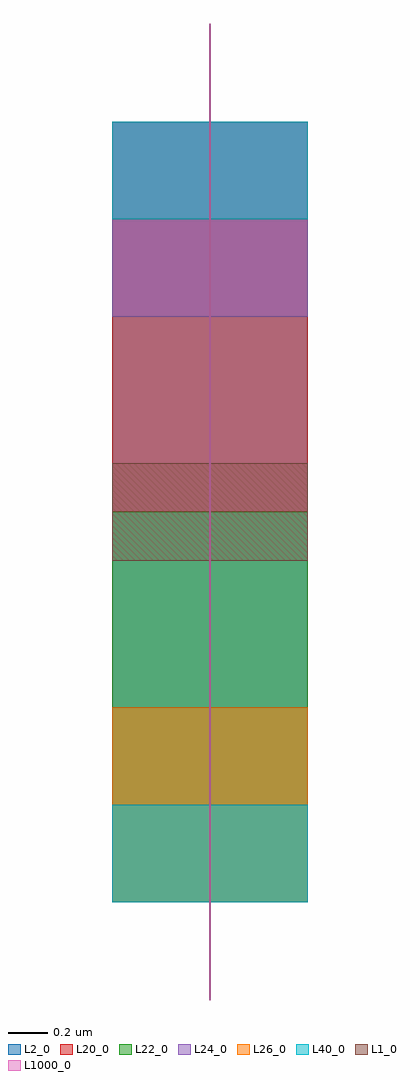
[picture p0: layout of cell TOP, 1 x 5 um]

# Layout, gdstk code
import gdstk
lib = gdstk.Library(unit=1e-6, precision=1e-09)
def R(c, l, rs):  # rectangles x0, y0, x1, y1
    for r in rs: c.add(gdstk.rectangle(r[:2], r[2:], *l))
L1_0 = (1, 0)
L2_0 = (2, 0)
L20_0 = (20, 0)
L22_0 = (22, 0)
L24_0 = (24, 0)
L26_0 = (26, 0)
L40_0 = (40, 0)
L1000_0 = (1000, 0)

top = lib.new_cell('TOP')
R(top, L1_0, [(-0.5,-0.25,0.5,0.25)])
R(top, L2_0, [(-0.5,-2,0.5,2)])
R(top, L20_0, [(-0.5,0,0.5,2)])
R(top, L22_0, [(-0.5,-2,0.5,0)])
R(top, L24_0, [(-0.5,1,0.5,2)])
R(top, L26_0, [(-0.5,-2,0.5,-1)])
R(top, L40_0, [(-0.5,-2,0.5,-1.5), (-0.5,1.5,0.5,2)])
R(top, L1000_0, [(-0.005,-2.5,0.005,2.5)])

lib.write_gds('TOP.gds')
